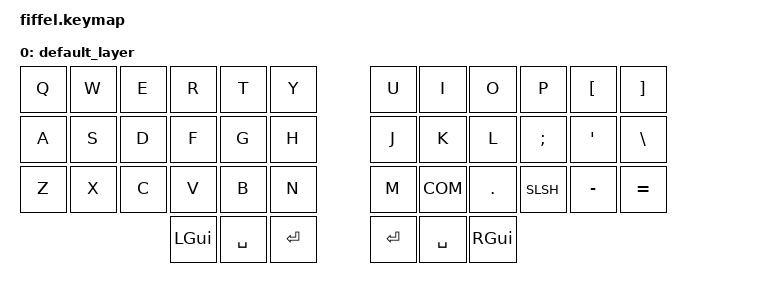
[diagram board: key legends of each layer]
 #include <behaviors.dtsi>
 #include <dt-bindings/zmk/keys.h>
/ {
  keymap {
    compatible = "zmk,keymap";
    default_layer {
      bindings = <
        &kp Q  &kp W  &kp E  &kp R  &kp T     &kp Y  &kp U  &kp I  &kp O  &kp P  &kp LBKT &kp RBKT
        &kp A  &kp S  &kp D  &kp F  &kp G     &kp H  &kp J  &kp K  &kp L  &kp SCLN &kp QUOT &kp BSLH
        &kp Z  &kp X  &kp C  &kp V  &kp B     &kp N  &kp M  &kp COM &kp DOT &kp SLSH &kp MINUS &kp EQUAL
                     &kp LGUI &kp SPACE &kp ENTER    &kp ENTER &kp SPACE &kp RGUI
      >;
    };
  };
};
